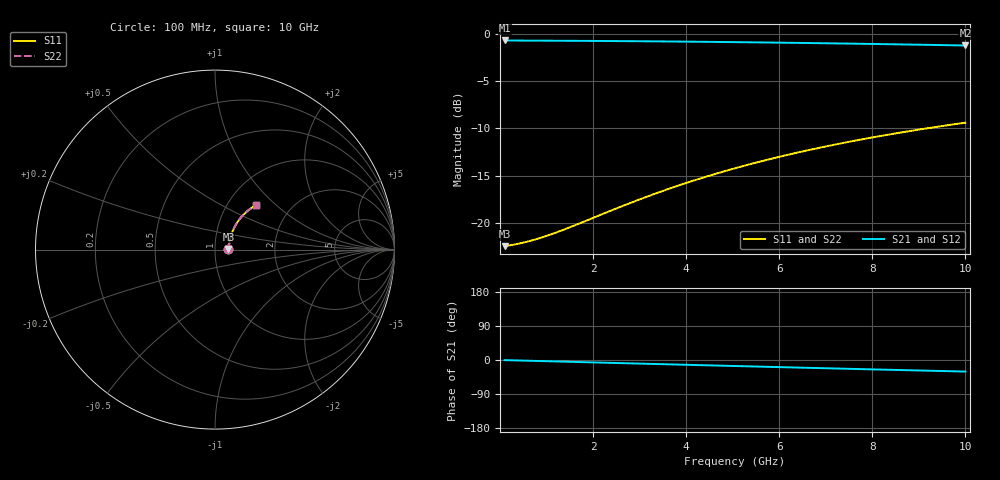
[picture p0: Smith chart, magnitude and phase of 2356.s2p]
# Hz S RI R 50.00
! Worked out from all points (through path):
!   100 points, 100 MHz to 10 GHz, reference 50 ohm
!   highest |S21| = -0.68 dB at 100 MHz (marker M1); lowest = -1.2 dB at 10 GHz (marker M2)
!   group delay of S21, straight-line fit = 8.5 ps
!   lowest |S11| = -22.5 dB at 100 MHz (marker M3), VSWR 1.16, Z = 58.1 + j0.376 ohm
!   |S11| at or under -10 dB: start of sweep to 9.166 GHz
!   |S22| runs from -22.5 to -9.4 dB; largest |S21 - S12| = 0
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1e8  0.0751 0.00321  0.9249 -0.00514  0.9249 -0.00514  0.0751 0.00321
3e8  0.076 0.00962  0.924 -0.0154  0.924 -0.0154  0.076 0.00962
5e8  0.0768 0.016  0.9232 -0.0256  0.9232 -0.0256  0.0768 0.016
8e8  0.078 0.0255  0.9219 -0.0409  0.9219 -0.0409  0.078 0.0255
1e9  0.0789 0.0319  0.9209 -0.0511  0.9209 -0.0511  0.0789 0.0319
1.2e9  0.08 0.0382  0.9197 -0.0613  0.9197 -0.0613  0.08 0.0382
1.5e9  0.0817 0.0476  0.9178 -0.0765  0.9178 -0.0765  0.0817 0.0476
1.8e9  0.0838 0.0569  0.9156 -0.0916  0.9156 -0.0916  0.0838 0.0569
2.7e9  0.0915 0.0844  0.907 -0.1364  0.907 -0.1364  0.0915 0.0844
3.1e9  0.0958 0.0962  0.9023 -0.1559  0.9023 -0.1559  0.0958 0.0962
3.4e9  0.0993 0.105  0.8984 -0.1705  0.8984 -0.1705  0.0993 0.105
3.8e9  0.1044 0.1164  0.8928 -0.1896  0.8928 -0.1896  0.1044 0.1164
4.2e9  0.11 0.1276  0.8866 -0.2085  0.8866 -0.2085  0.11 0.1276
4.6e9  0.116 0.1385  0.8799 -0.2271  0.8799 -0.2271  0.116 0.1385
5.1e9  0.1241 0.1516  0.8708 -0.2499  0.8708 -0.2499  0.1241 0.1516
5.5e9  0.1311 0.1617  0.863 -0.2678  0.863 -0.2678  0.1311 0.1617
5.9e9  0.1384 0.1715  0.8548 -0.2853  0.8548 -0.2853  0.1384 0.1715
6.7e9  0.1542 0.1899  0.837 -0.3192  0.837 -0.3192  0.1542 0.1899
7.5e9  0.1713 0.2067  0.8177 -0.3516  0.8177 -0.3516  0.1713 0.2067
8.4e9  0.1919 0.2236  0.7943 -0.386  0.7943 -0.386  0.1919 0.2236
9.2e9  0.2111 0.2367  0.7723 -0.4147  0.7723 -0.4147  0.2111 0.2367
1e10  0.231 0.2481  0.7493 -0.4418  0.7493 -0.4418  0.231 0.2481
